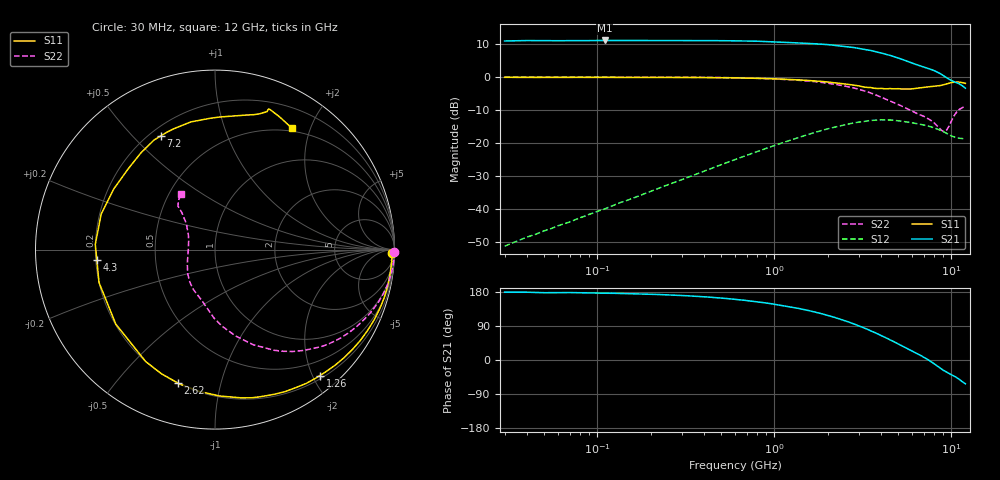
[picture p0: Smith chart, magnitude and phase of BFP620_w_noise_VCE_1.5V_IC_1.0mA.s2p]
! Infineon Technologies  Discrete & RF Semiconductors
! BFP620
! VCE =  1.5 V,  IC =  1.0 mA
! Common Emitter S-Parameters:  Nov 2015
# GHz  S  MA  R  50
!  f  S11  S21  S12  S22
! GHz  MAG  ANG  MAG  ANG  MAG  ANG  MAG  ANG
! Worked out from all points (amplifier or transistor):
!   239 points, 30 MHz to 12 GHz, reference 50 ohm
!   highest |S21| = 11.1 dB at 110 MHz (marker M1)
!   |S21| within 3 dB of that: start of sweep to 3.463 GHz
!   unconditionally stable (mu >= 1): 7.631 GHz to end of sweep
!   at 300 MHz: K = 0.01, MSG = 21.1 dB, |S12| = -31.2 dB
!   at 1.88 GHz: K = 0.24, MSG = 13.0 dB, |S12| = -16.1 dB
!   at 12 GHz: K = 1.92, MAG = 2.3 dB, |S12| = -18.9 dB
!   lowest NFmin = 0.71 dB at 450 MHz
!   S11 on the Smith chart (normalised r, x): 30 MHz: 42, -71; 1.26 GHz: 0.25, -2.11; 2.62 GHz: 0.20, -0.74; 4.3 GHz: 0.20, -0.04; 7.2 GHz: 0.24, +0.60; 12 GHz: 0.46, +1.73
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0.03  0.9877 -1.2  3.516 179.1  0.0027 89.1  0.9993 -0.7
0.085  0.9856 -3.4  3.561 177.2  0.0077 88.2  0.9991 -2.0
0.11  0.9855 -4.3  3.583 176.2  0.0099 87.1  0.9987 -2.6
0.24  0.9835 -9.4  3.573 172.2  0.0221 84.7  0.9949 -5.6
0.36  0.9806 -14.3  3.579 168.3  0.0332 81.6  0.9894 -8.3
0.6  0.9692 -23.9  3.537 160.2  0.0558 75.2  0.9733 -13.8
0.9  0.9464 -36.0  3.45 150.4  0.0825 66.8  0.9437 -20.3
1.26  0.9133 -50.2  3.32 139.3  0.1119 57.2  0.9032 -27.6
1.64  0.8773 -65.3  3.21 128.2  0.1399 47.8  0.8563 -35.0
2  0.8388 -80.0  3.102 117.8  0.1633 38.8  0.8049 -42.0
2.62  0.7712 -105.6  2.87 100.5  0.1933 24.3  0.7097 -53.1
3  0.7334 -121.8  2.727 90.0  0.2067 16.0  0.6514 -59.5
3.5  0.6913 -143.1  2.526 77.0  0.2189 5.5  0.5723 -68.0
4.3  0.661 -175.1  2.196 58.0  0.2225 -9.9  0.4552 -81.0
4.5  0.6676 177.5  2.129 53.2  0.2226 -13.6  0.4302 -84.5
5.5  0.6575 149.2  1.776 32.4  0.2095 -28.0  0.3399 -96.1
7.2  0.7016 115.6  1.376 3.8  0.1829 -46.0  0.2419 -122.4
8  0.724 100.7  1.248 -10.1  0.1688 -53.5  0.2012 -139.3
9.2  0.77 76.8  1.013 -29.5  0.1436 -61.9  0.1496 171.1
10  0.822 69.3  0.883 -38.9  0.1274 -63.6  0.2147 138.0
11  0.8381 68.5  0.796 -49.9  0.1178 -62.3  0.3177 130.4
12  0.8002 57.5  0.676 -62.8  0.1132 -62.7  0.3633 121.0
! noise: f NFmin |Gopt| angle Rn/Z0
0.45  0.71  0.84  7  0.43
0.9  0.78  0.75  17  0.4
1.9  0.93  0.58  46  0.34
2.4  1.03  0.51  65  0.32
3.5  1.09  0.34  87  0.23
5.5  1.99  0.35  174  0.18
10  3.07  0.71  -63  1.84
